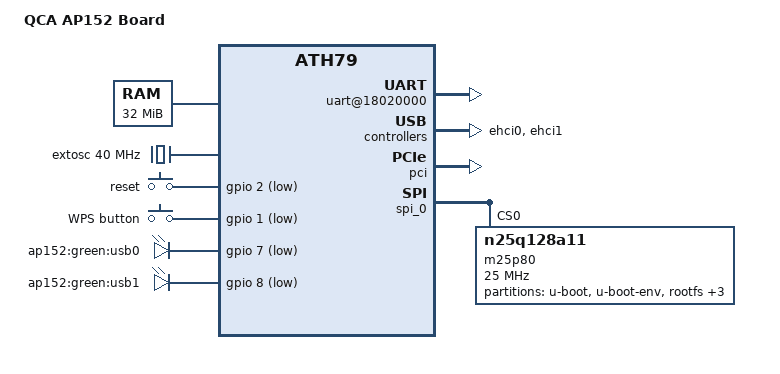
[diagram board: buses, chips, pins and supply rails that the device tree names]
/dts-v1/;

#include <dt-bindings/gpio/gpio.h>
#include <dt-bindings/input/input.h>

#include "ath79.dtsi"

/ {
	compatible = "qca_ap152", "qca,ath79";
	model = "QCA AP152 Board";

	alias {
		serial0 = "/ahb/apb/uart@18020000";
	};

	memory@0 {
		device_type = "memory";
		reg = <0x0 0x2000000>;
	};

	extosc: oscillator {
		compatible = "fixed-clock";
		#clock-cells = <0>;
		clock-frequency = <40000000>;
	};

	ahb {
		apb {
			uart@18020000 {
				status = "okay";
			};

			pll-controller@18050000 {
				clocks = <&extosc>;
			};

			ehci0: usb@1b000000 {
				compatible = "generic-ehci", "ehci-platform";
				reg = <0x1b000000 0x200>;
				interrupt-parent = <&ip3_int>;
				interrupts = <0>;
				has-transaction-translator;
				qca_force_host_mode;
				qca_force_16bit_ptw;
				caps-offset = <0x100>;
				status = "okay";
			};

			ehci1: usb@1b400000 {
				compatible = "generic-ehci","ehci-platform";
				reg = <0x1b400000 0x200>;
				interrupt-parent = <&ip3_int>;
				interrupts = <1>;
				has-transaction-translator;
				qca_force_host_mode;
				qca_force_16bit_ptw;
				caps-offset = <0x100>;
				status = "okay";
			};

			pci: pci@0x16000000 {
				compatible = "qca,ar724x-pci";
				reg = <0x16000000 0x1000>,
				      <0x18280000 0x100>,
				      <0x18250000 0x1000>,
				      <0x12000000 0x02000000>,
					<1 1>;
				reg-names = "cfg_base","ctrl_base","crp_base",
						"mem_base","io_base";
				interrupt-parent = <&ip2_int>;
				interrupts = <0>;
				status = "okay";
			};
		};

		spi_0: spi@1f000000 {
			status = "okay";
			m25p80@0 {
				#address-cells = <1>;
				#size-cells = <1>;
				compatible = "n25q128a11";
				linux,modalias = "m25p80", "n25q128a11";
				reg = <0>;
				spi-max-frequency = <25000000>;

				partition@0 {
					label = "u-boot";
					reg = <0x000000 0x040000>;
				};

				partition@1 {
					label = "u-boot-env";
					reg = <0x040000 0x050000>;
				};

				partition@2 {
					label = "rootfs";
					reg = <0x050000 0xe80000>;
				};

				partition@3 {
					label = "kernel";
					reg = <0xe80000 0xff0000>;
				};

				partition@4 {
					label = "art";
					reg = <0xff0000 0x1000000>;
				};

				partition@5 {
					label = "firmware";
					reg = <0x50000 0xff0000>;
				};
			};
		};

	};

	gpio-keys {
		compatible = "gpio-keys-polled";
		#address-cells = <1>;
		#size-cells = <0>;

		poll-interval = <20>;
		button@0 {
			label = "reset";
			linux,code = <KEY_RESTART>;
			gpios = <&gpio 2 GPIO_ACTIVE_LOW>;
			debounce-interval = <60>;
		};

		button@1 {
			label = "WPS button";
			linux,code = <KEY_WPS_BUTTON>;
			gpios = <&gpio 1 GPIO_ACTIVE_LOW>;
			debounce-interval = <60>;
		};
	};

	leds {
		compatible = "gpio-leds";
		led@0 {
			label = "ap152:green:usb0";
			gpios = <&gpio 7 GPIO_ACTIVE_LOW>;

		};

		led@1 {
			label = "ap152:green:usb1";
			gpios = <&gpio 8 GPIO_ACTIVE_LOW>;

		};

	};
};
